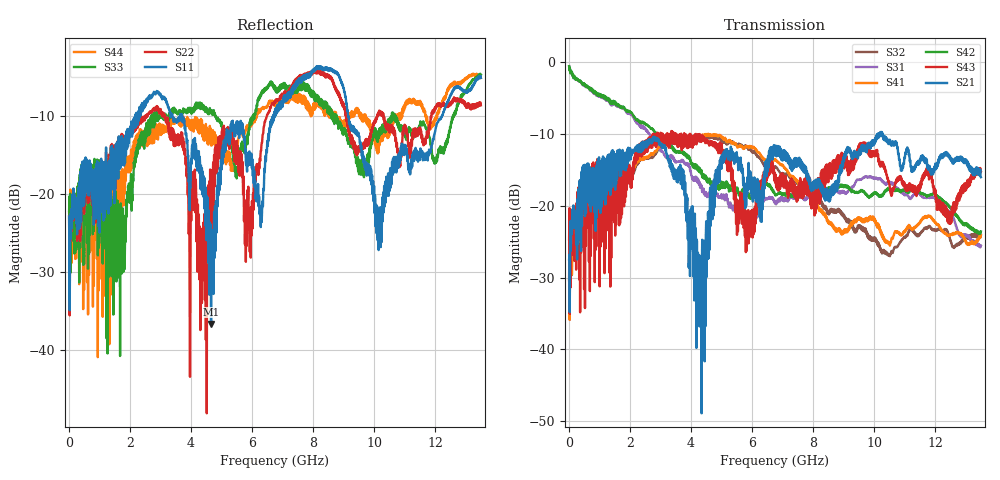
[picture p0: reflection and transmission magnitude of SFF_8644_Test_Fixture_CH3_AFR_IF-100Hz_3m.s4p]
!Keysight Technologies,N5231B,MY57181281,A.17.25.05
!Date: Friday, March 07, 2025 16:28:33
!Correction: S11(C  4-Port  )
!S12(C  4-Port  )
!S13(C  4-Port  )
!S14(C  4-Port  )
!S21(C  4-Port  )
!S22(C  4-Port  )
!S23(C  4-Port  )
!S24(C  4-Port  )
!S31(C  4-Port  )
!S32(C  4-Port  )
!S33(C  4-Port  )
!S34(C  4-Port  )
!S41(C  4-Port  )
!S42(C  4-Port  )
!S43(C  4-Port  )
!S44(C  4-Port  )
!S4P File: Measurements: <S11,S12,S13,S14>,
!<S21,S22,S23,S24>,
!<S31,S32,S33,S34>,
!<S41,S42,S43,S44>:
# Hz S  dB  R 50
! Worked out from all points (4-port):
!   1350 points, 10 MHz to 13.5 GHz, reference 50 ohm
!   strongest paths, dB at 10 MHz, 3.38 GHz, 6.76 GHz, 10.13 GHz, 13.5 GHz:
!     S21: -27.5, -15.3, -12.6, -9.9, -16.0
!     S43: -24.7, -11.1, -16.8, -12.8, -15.3
!     S42: -0.5, -11.7, -18.4, -18.5, -23.6
!     S41: -30.2, -11.1, -13.6, -23.0, -24.0
!     S31: -0.5, -13.0, -19.7, -16.3, -25.5
!     S32: -30.4, -11.3, -14.6, -25.6, -24.1
!   lowest |S11| = -36.6 dB at 4.66 GHz (marker M1), VSWR 1.03, Z = 51.5 + j0.246 ohm
!   |S11| at or under -10 dB: start of sweep to 2.179 GHz; 3.721 GHz to 6.696 GHz (2.976 GHz wide, 57.1 % of centre); 9.161 GHz to 12.22 GHz (3.064 GHz wide, 28.7 % of centre)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
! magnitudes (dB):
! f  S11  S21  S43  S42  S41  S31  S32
! 10 MHz  -22.8  -27.5  -24.7  -0.5  -30.2  -0.5  -30.4
! 2.91 GHz  -6.8  -10.6  -9.8  -10.2  -12.1  -11.8  -12.2
! 4.3 GHz  -16.1  -27.0  -10.3  -15.3  -10.3  -17.5  -10.8
! 4.66 GHz  -36.6  -17.9  -11.2  -17.2  -10.1  -18.3  -10.4
! 8.1 GHz  -3.9  -16.7  -17.2  -18.0  -19.9  -18.8  -18.9
! 10.17 GHz  -21.8  -9.9  -13.7  -18.6  -23.3  -16.2  -25.8
! 13.5 GHz  -5.1  -16.0  -15.3  -23.6  -24.0  -25.5  -24.1
